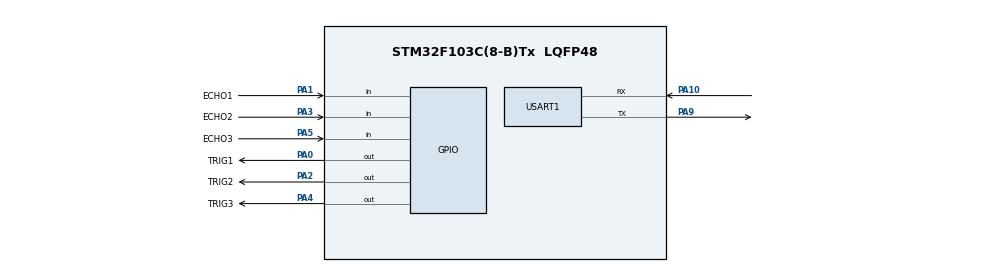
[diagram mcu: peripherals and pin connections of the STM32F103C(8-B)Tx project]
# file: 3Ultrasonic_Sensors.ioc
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Mcu.Family=STM32F1
Mcu.Name=STM32F103C(8-B)Tx
Mcu.Package=LQFP48
NVIC.PriorityGroup=NVIC_PRIORITYGROUP_4
PA0-WKUP.GPIO_Label=TRIG1
PA0-WKUP.Signal=GPIO_Output
PA1.GPIO_Label=ECHO1
PA1.Signal=GPIO_Input
PA10.Mode=Asynchronous
PA10.Signal=USART1_RX
PA13.Mode=Serial_Wire
PA13.Signal=SYS_JTMS-SWDIO
PA14.Mode=Serial_Wire
PA14.Signal=SYS_JTCK-SWCLK
PA2.GPIO_Label=TRIG2
PA2.Signal=GPIO_Output
PA3.GPIO_Label=ECHO2
PA3.Signal=GPIO_Input
PA4.GPIO_Label=TRIG3
PA4.Signal=GPIO_Output
PA5.GPIO_Label=ECHO3
PA5.Signal=GPIO_Input
PA9.Mode=Asynchronous
PA9.Signal=USART1_TX
ProjectManager.HeapSize=0x200
ProjectManager.StackSize=0x400
ProjectManager.TargetToolchain=STM32CubeIDE
RCC.APB1Freq_Value=8000000
RCC.APB2Freq_Value=8000000
TIM1.Prescaler=71
USART1.VirtualMode=VM_ASYNC
VP_TIM1_VS_ClockSourceINT.Mode=Internal
board=custom

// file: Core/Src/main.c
/* USER CODE BEGIN Header */
/**
  ******************************************************************************
  * @file           : main.c
  * @brief          : Main program body
  ******************************************************************************
  * @attention
  *
  * Copyright (c) 2026 STMicroelectronics.
  * All rights reserved.
  *
  * This software is licensed under terms that can be found in the LICENSE file
  * in the root directory of this software component.
  * If no LICENSE file comes with this software, it is provided AS-IS.
  *
  ******************************************************************************
  */
/* USER CODE END Header */
#include "main.h"
#include <stdio.h>

TIM_HandleTypeDef htim1;
UART_HandleTypeDef huart1;

int __io_putchar(int ch)
{
    HAL_UART_Transmit(&huart1, (uint8_t *)&ch, 1, HAL_MAX_DELAY);
    return ch;
}

/* USER CODE BEGIN PV */
uint32_t distance_F = 0;
uint32_t distance_L = 0;
uint32_t distance_R = 0;
/* USER CODE END PV */

/* USER CODE BEGIN 0 */
void delay_us(uint16_t us)
{
    __HAL_TIM_SET_COUNTER(&htim1, 0);
    while (__HAL_TIM_GET_COUNTER(&htim1) < us);
}

uint32_t ultrasonic_read(uint16_t trig_pin, uint16_t echo_pin)
{
    uint32_t virtual_time = 0;
    uint32_t timeout = 0;

    // 1. Fat, undeniably obvious trigger pulse for the simulator
    HAL_GPIO_WritePin(GPIOA, trig_pin, GPIO_PIN_RESET);
    HAL_Delay(1);
    HAL_GPIO_WritePin(GPIOA, trig_pin, GPIO_PIN_SET);
    HAL_Delay(1);
    HAL_GPIO_WritePin(GPIOA, trig_pin, GPIO_PIN_RESET);

    // 2. Wait for Virtual Echo to go HIGH
    while(!(HAL_GPIO_ReadPin(GPIOA, echo_pin)))
    {
        timeout++;
        if(timeout > 500000) return 0; // Prevent sim freeze
    }

    // 3. Count the Virtual Pulse Width
    while(HAL_GPIO_ReadPin(GPIOA, echo_pin))
    {
        virtual_time++;
        if(virtual_time > 500000) return 0; // Prevent sim freeze
    }

    // 4. Calibrated calculation for PicSimLab!
    // Since 51.4 virtual cycles = 1 cm, we divide by 51 for integer math.
    return virtual_time / 51;
}

/* USER CODE END 0 */

void SystemClock_Config(void);
static void MX_GPIO_Init(void);
static void MX_TIM1_Init(void);
static void MX_USART1_UART_Init(void);

int main(void)
{
  /* Reset of all peripherals, Initializes the Flash interface and the Systick. */
  HAL_Init();

  /* Configure the system clock */
  SystemClock_Config();

  /* Update standard core clock variable so we can use it for our timer */
  SystemCoreClockUpdate();

  /* Initialize all configured peripherals */
  MX_GPIO_Init();
  MX_TIM1_Init();
  MX_USART1_UART_Init();

  /* USER CODE BEGIN 2 */
  HAL_TIM_Base_Start(&htim1);
  /* USER CODE END 2 */

  /* Infinite loop */
  /* USER CODE BEGIN WHILE */
  printf("My Core Clock is: %lu Hz\r\n", SystemCoreClock);
  while (1)
  {
      // Front Sensor: TRIG = PA0, ECHO = PA1
      distance_F = ultrasonic_read(GPIO_PIN_0, GPIO_PIN_1);
      HAL_Delay(60); // Minimum 60ms recommended by datasheet to prevent cross-talk

      // Left Sensor: TRIG = PA2, ECHO = PA3
      distance_L = ultrasonic_read(GPIO_PIN_2, GPIO_PIN_3);
      HAL_Delay(60);

      // Right Sensor: TRIG = PA4, ECHO = PA5
      distance_R = ultrasonic_read(GPIO_PIN_4, GPIO_PIN_5);

      // Print all three distances
      printf("F: %lu cm | L: %lu cm | R: %lu cm\r\n", distance_F, distance_L, distance_R);

      HAL_Delay(500); // Wait half a second before full next read
  /* USER CODE END WHILE */

  }
}

void SystemClock_Config(void)
{
  RCC_OscInitTypeDef RCC_OscInitStruct = {0};
  RCC_ClkInitTypeDef RCC_ClkInitStruct = {0};

  RCC_OscInitStruct.OscillatorType = RCC_OSCILLATORTYPE_HSI;
  RCC_OscInitStruct.HSIState = RCC_HSI_ON;
  RCC_OscInitStruct.HSICalibrationValue = RCC_HSICALIBRATION_DEFAULT;
  RCC_OscInitStruct.PLL.PLLState = RCC_PLL_NONE;
  if (HAL_RCC_OscConfig(&RCC_OscInitStruct) != HAL_OK)
  {
    Error_Handler();
  }

  RCC_ClkInitStruct.ClockType = RCC_CLOCKTYPE_HCLK|RCC_CLOCKTYPE_SYSCLK
                              |RCC_CLOCKTYPE_PCLK1|RCC_CLOCKTYPE_PCLK2;
  RCC_ClkInitStruct.SYSCLKSource = RCC_SYSCLKSOURCE_HSI;
  RCC_ClkInitStruct.AHBCLKDivider = RCC_SYSCLK_DIV1;
  RCC_ClkInitStruct.APB1CLKDivider = RCC_HCLK_DIV1;
  RCC_ClkInitStruct.APB2CLKDivider = RCC_HCLK_DIV1;

  if (HAL_RCC_ClockConfig(&RCC_ClkInitStruct, FLASH_LATENCY_0) != HAL_OK)
  {
    Error_Handler();
  }
}

static void MX_TIM1_Init(void)
{
  TIM_ClockConfigTypeDef sClockSourceConfig = {0};
  TIM_MasterConfigTypeDef sMasterConfig = {0};

  htim1.Instance = TIM1;

  // DYNAMIC PRESCALER: This guarantees exactly 1 tick = 1 microsecond!
  htim1.Init.Prescaler = (SystemCoreClock / 1000000) - 1;

  htim1.Init.CounterMode = TIM_COUNTERMODE_UP;
  htim1.Init.Period = 65535;
  htim1.Init.ClockDivision = TIM_CLOCKDIVISION_DIV1;
  htim1.Init.RepetitionCounter = 0;
  htim1.Init.AutoReloadPreload = TIM_AUTORELOAD_PRELOAD_DISABLE;
  if (HAL_TIM_Base_Init(&htim1) != HAL_OK)
  {
    Error_Handler();
  }
  sClockSourceConfig.ClockSource = TIM_CLOCKSOURCE_INTERNAL;
  if (HAL_TIM_ConfigClockSource(&htim1, &sClockSourceConfig) != HAL_OK)
  {
    Error_Handler();
  }
  sMasterConfig.MasterOutputTrigger = TIM_TRGO_RESET;
  sMasterConfig.MasterSlaveMode = TIM_MASTERSLAVEMODE_DISABLE;
  if (HAL_TIMEx_MasterConfigSynchronization(&htim1, &sMasterConfig) != HAL_OK)
  {
    Error_Handler();
  }
}

static void MX_USART1_UART_Init(void)
{
  huart1.Instance = USART1;
  huart1.Init.BaudRate = 115200;
  huart1.Init.WordLength = UART_WORDLENGTH_8B;
  huart1.Init.StopBits = UART_STOPBITS_1;
  huart1.Init.Parity = UART_PARITY_NONE;
  huart1.Init.Mode = UART_MODE_TX_RX;
  huart1.Init.HwFlowCtl = UART_HWCONTROL_NONE;
  huart1.Init.OverSampling = UART_OVERSAMPLING_16;
  if (HAL_UART_Init(&huart1) != HAL_OK)
  {
    Error_Handler();
  }
}

static void MX_GPIO_Init(void)
{
  GPIO_InitTypeDef GPIO_InitStruct = {0};

  /* GPIO Ports Clock Enable */
  __HAL_RCC_GPIOA_CLK_ENABLE();

  /* Configure GPIO pin Output Level (TRIG Pins) */
  HAL_GPIO_WritePin(GPIOA, GPIO_PIN_0|GPIO_PIN_2|GPIO_PIN_4, GPIO_PIN_RESET);

  /* Configure GPIO pins : TRIG Pins (PA0, PA2, PA4) */
  GPIO_InitStruct.Pin = GPIO_PIN_0|GPIO_PIN_2|GPIO_PIN_4;
  GPIO_InitStruct.Mode = GPIO_MODE_OUTPUT_PP;
  GPIO_InitStruct.Pull = GPIO_NOPULL;
  GPIO_InitStruct.Speed = GPIO_SPEED_FREQ_LOW;
  HAL_GPIO_Init(GPIOA, &GPIO_InitStruct);

  /* Configure GPIO pins : ECHO Pins (PA1, PA3, PA5) */
  GPIO_InitStruct.Pin = GPIO_PIN_1|GPIO_PIN_3|GPIO_PIN_5;
  GPIO_InitStruct.Mode = GPIO_MODE_INPUT;
  GPIO_InitStruct.Pull = GPIO_NOPULL;
  HAL_GPIO_Init(GPIOA, &GPIO_InitStruct);
}

void Error_Handler(void)
{
  __disable_irq();
  while (1)
  {
  }
}
